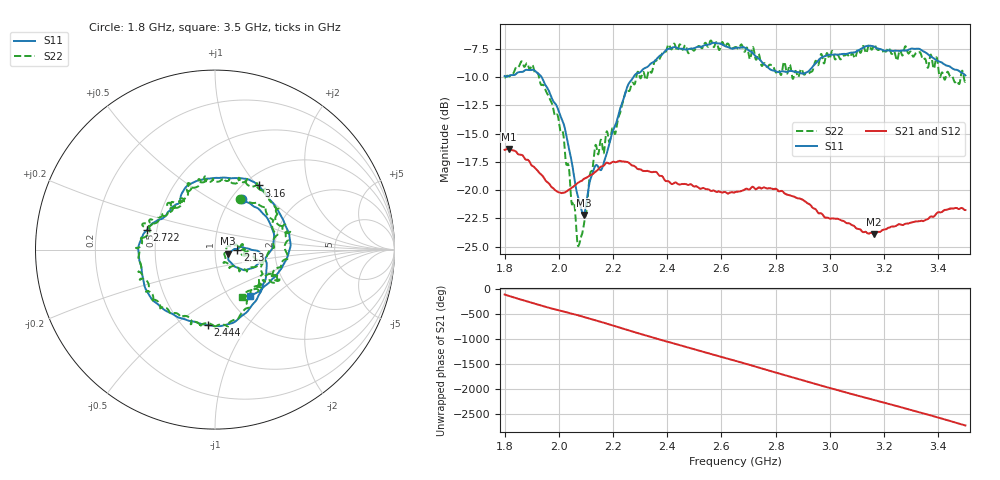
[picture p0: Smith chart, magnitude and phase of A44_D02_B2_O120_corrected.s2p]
! Created with skrf 1.9.0 (http://scikit-rf.org).
# Hz S RI R 50.0
!freq ReS11 ImS11 ReS21 ImS21 ReS12 ImS12 ReS22 ImS22
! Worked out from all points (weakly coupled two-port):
!   1601 points, 1.8 GHz to 3.5 GHz, reference 50 ohm
!   highest |S21| = -16.36 dB at 1.815 GHz (marker M1); lowest = -23.9 dB at 3.163 GHz (marker M2)
!   lowest |S11| = -22.2 dB at 2.091 GHz (marker M3), VSWR 1.17, Z = 57.9 - j2.74 ohm
!   |S11| at or under -10 dB: 1.936 GHz to 2.276 GHz (339.6 MHz wide, 16.1 % of centre)
!   |S22| runs from -24.9 to -6.8 dB; largest |S21 - S12| = 0.0026
!   S11 on the Smith chart (normalised r, x): 1.8 GHz: 1.12, +0.70; 2.13 GHz: 1.29, -0.01; 2.444 GHz: 0.65, -0.67; 2.722 GHz: 0.44, +0.12; 3.16 GHz: 1.16, +1.02; 3.5 GHz: 1.26, -0.72
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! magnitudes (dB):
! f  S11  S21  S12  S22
! 1.8 GHz  -9.9  -16.4  -16.4  -10.1
! 1.815 GHz  -9.9  -16.4  -16.4  -9.9
! 1.902 GHz  -9.4  -17.9  -17.8  -8.9
! 1.967 GHz  -11.4  -19.5  -19.6  -12.0
! 2.02 GHz  -14.3  -20.2  -20.2  -15.8
! 2.07 GHz  -20.5  -19.4  -19.4  -24.9
! 2.084 GHz  -21.8  -19.2  -19.1  -24.0
! 2.091 GHz  -22.2  -19.0  -19.1  -23.2
! 2.13 GHz  -18.1  -18.5  -18.5  -16.7
! 2.162 GHz  -17.9  -17.9  -17.8  -16.5
! 2.259 GHz  -10.5  -17.6  -17.6  -11.2
! 2.367 GHz  -8.2  -18.6  -18.6  -8.6
! 2.444 GHz  -7.5  -19.5  -19.5  -7.2
! 2.65 GHz  -7.4  -20.2  -20.2  -7.4
! 2.722 GHz  -8.1  -19.8  -19.8  -8.0
! 2.806 GHz  -9.6  -20.0  -20.0  -9.5
! 2.934 GHz  -9.2  -21.5  -21.5  -9.5
! 3.16 GHz  -7.3  -23.9  -23.8  -7.3
! 3.163 GHz  -7.3  -23.9  -23.8  -7.2
! 3.217 GHz  -7.7  -23.3  -23.3  -7.4
! 3.329 GHz  -7.5  -22.7  -22.7  -7.8
! 3.5 GHz  -9.9  -21.8  -21.7  -10.4
